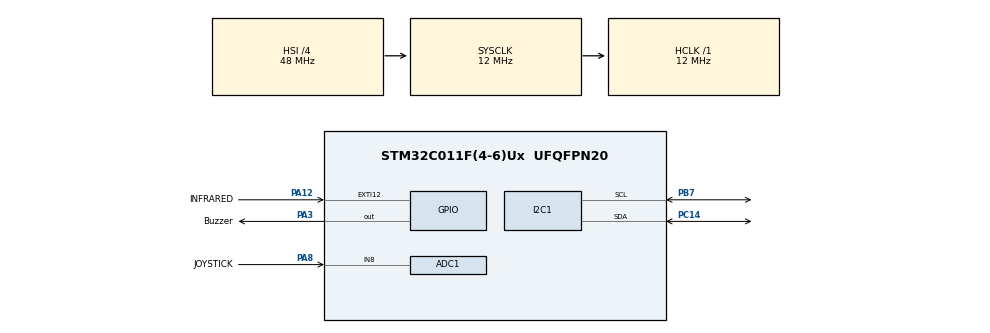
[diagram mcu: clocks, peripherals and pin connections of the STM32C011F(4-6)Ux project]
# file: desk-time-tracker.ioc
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ADC1.ClockPrescaler=ADC_CLOCK_SYNC_PCLK_DIV2
ADC1.EnableAnalogWatchDog1=false
ADC1.NbrOfConversionFlag=0
ADC1.SelectedChannel=ADC_CHANNEL_8
ADC1.master=1
I2C1.Timing=0x00402D41
Mcu.Family=STM32C0
Mcu.Name=STM32C011F(4-6)Ux
Mcu.Package=UFQFPN20
NVIC.ADC1_IRQn=true\:0\:0\:false\:false\:true\:true\:true\:true
NVIC.EXTI4_15_IRQn=true\:0\:0\:false\:false\:true\:true\:true\:true
NVIC.TIM1_BRK_UP_TRG_COM_IRQn=true\:0\:0\:false\:false\:true\:true\:true\:true
PA12\ [PA10].GPIO_Label=INFRARED
PA12\ [PA10].Signal=GPXTI12
PA3.GPIO_Label=Buzzer
PA3.GPIO_Speed=GPIO_SPEED_FREQ_VERY_HIGH
PA3.PinState=GPIO_PIN_RESET
PA3.Signal=GPIO_Output
PA8.GPIO_Label=JOYSTICK
PA8.Mode=IN8
PA8.Signal=ADC1_IN8
PB7.GPIO_Pu=GPIO_PULLUP
PB7.Mode=I2C
PB7.Signal=I2C1_SCL
PC14-OSCX_IN\ (PC14).GPIO_Pu=GPIO_PULLUP
PC14-OSCX_IN\ (PC14).Mode=I2C
PC14-OSCX_IN\ (PC14).Signal=I2C1_SDA
ProjectManager.HeapSize=0x200
ProjectManager.StackSize=0x400
ProjectManager.TargetToolchain=STM32CubeIDE
RCC.ADCFreq_Value=12000000
RCC.AHBFreq_Value=12000000
RCC.CortexFreq_Value=12000000
RCC.EXTERNAL_CLOCK_VALUE=12288000
RCC.HCLKFreq_Value=12000000
RCC.HSE_VALUE=8000000
RCC.HSI_VALUE=48000000
RCC.LSE_VALUE=32768
RCC.SYSCLKFreq_VALUE=12000000
TIM1.ClockDivision=TIM_CLOCKDIVISION_DIV1
TIM1.Period=11999
TIM1.Prescaler=999
VP_RTC_VS_RTC_Activate.Mode=RTC_Enabled
VP_TIM1_VS_ClockSourceINT.Mode=Internal
VP_TIM1_VS_ClockSourceITR.Mode=TriggerSource_ITR0
board=STM32C0116-DK

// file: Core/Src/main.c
/* USER CODE BEGIN Header */
/**
  ******************************************************************************
  * @file           : main.c
  * @brief          : Main program body
  ******************************************************************************
  * @attention
  *
  * Copyright (c) 2026 STMicroelectronics.
  * All rights reserved.
  *
  * This software is licensed under terms that can be found in the LICENSE file
  * in the root directory of this software component.
  * If no LICENSE file comes with this software, it is provided AS-IS.
  *
  ******************************************************************************
  */
/* USER CODE END Header */
#include "main.h"

/* USER CODE BEGIN Includes */
#include <stdio.h>
#include <stdint.h>
#include "ssd1306.h"
#include "ssd1306_fonts.h"
#include "mmwave.h"
#include "uprint.h"
#include "storage.h"

/* USER CODE END Includes */

ADC_HandleTypeDef hadc1;

I2C_HandleTypeDef hi2c1;

RTC_HandleTypeDef hrtc;

TIM_HandleTypeDef htim1;

/* USER CODE BEGIN PV */

//Normal Op
volatile uint8_t movement_state = 0; //Valid if Infrared has input
volatile int32_t timestamp      = 0; //global timer - seconds
volatile uint8_t resumeFromStop = 0; //Handles re-enabling full operation

//Buzzer
volatile uint8_t buzzerSettingsMode = 0;
volatile uint16_t buzzerSafetyCheck = 0;

uint32_t beeper = 3 * 60 * 60; //Three Hour Default
uint8_t buzzerEnabled = 0;
uint8_t disableBuzzer = 0;

uint8_t oled_state = 0;

char timestamp_str[6];
char avg_str[6];
char buzzer_str[6];

struct session {
  uint8_t state;
  uint8_t ab_tim_begun;
  int32_t ab_timestamp;
  uint8_t layover_tim_begun;
  uint32_t layover_timestamp;
};

struct averages {
  uint8_t average_iter;
  uint16_t average_count;
  uint32_t averages[64];
};

struct session session;
struct averages averages;

/* USER CODE END PV */

void SystemClock_Config(void);
static void MX_GPIO_Init(void);
static void MX_I2C1_Init(void);
static void MX_RTC_Init(void);
static void MX_TIM1_Init(void);
static void MX_ADC1_Init(void);

/* USER CODE BEGIN 0 */

//Generated By Claude.AI
void Display_TimeScreen(char *current_time, char *avg_time, char *buz_time) {
    ssd1306_Fill(White);

    // -- Large current time -----------------------------------
    // Font_16x26: "HH:MM" = 5 chars × 16px = 80px, ends at x=82
    ssd1306_SetCursor(2, 19);
    ssd1306_WriteString(current_time, Font_16x26, Black);

    // -- 2px vertical separator bar ---------------------------
    // Sits just after the main time (x=82), full screen height
    ssd1306_FillRectangle(84, 0, 85, 63, Black);

    // -- AVG label + value (top-right) ------------------------
    ssd1306_SetCursor(89, 4);
    ssd1306_WriteString("AVG", Font_6x8, Black);
    ssd1306_SetCursor(89, 14);
    ssd1306_WriteString(avg_time, Font_6x8, Black);

    // -- BUZ label + value (bottom-right) ---------------------
    ssd1306_SetCursor(89, 34);
    ssd1306_WriteString("BUZ", Font_6x8, Black);
    ssd1306_SetCursor(89, 44);
    ssd1306_WriteString(buz_time, Font_6x8, Black);

    // -- Vertical bar on right edge ---------------------------
    ssd1306_FillRectangle(124, 0, 127, 63, Black);

    ssd1306_UpdateScreen();
}

//Generated By Claude.AI
void Display_SettingsScreen(uint8_t hours, uint8_t minutes, uint8_t selected_pos) {
    char hours_str[4];
    char mins_str[4];
    sprintf(hours_str, "%02d", hours);
    sprintf(mins_str,  "%02d", minutes);

    // Blink toggle: flips every 500ms
    uint8_t blink_on = (HAL_GetTick() % 1000) < 500;

    ssd1306_Fill(White);

    // -- "BUZZ" label centered top ----------------------------
    // Font_6x8: "BUZZ" = 4 chars x 6px = 24px, centered at x=52
    ssd1306_SetCursor(52, 2);
    ssd1306_WriteString("BUZZ", Font_6x8, Black);

    // -- Centered time layout ---------------------------------
    // Font_16x26: "HH:MM" = 5 chars x 16px = 80px
    // Center on 128px screen: (128 - 80) / 2 = 24
    // So: HH @ x=24, ':' @ x=56, MM @ x=72
    // Vertically centered: (64 - 26) / 2 = 19

    // -- Colon always visible ---------------------------------
    ssd1306_SetCursor(56, 19);
    ssd1306_WriteString(":", Font_16x26, Black);

    // -- Hours: flash if selected -----------------------------
    if (selected_pos != 1 || blink_on) {
        ssd1306_SetCursor(24, 19);
        ssd1306_WriteString(hours_str, Font_16x26, Black);
    }

    // -- Minutes: flash if selected ---------------------------
    if (selected_pos != 0 || blink_on) {
        ssd1306_SetCursor(72, 19);
        ssd1306_WriteString(mins_str, Font_16x26, Black);
    }

    ssd1306_UpdateScreen();
}

//TIM set to 1Hz
void HAL_TIM_PeriodElapsedCallback(TIM_HandleTypeDef *htim) {
  //Update global time
  timestamp++;
  if (buzzerSettingsMode) {
    buzzerSafetyCheck++;
    if (buzzerSafetyCheck >= 360) {
      buzzerSettingsMode = 0;
      buzzerSafetyCheck = 0;
    }
  }
  if (timestamp >= beeper) {
	  buzzerEnabled = 1;
  }
}

void HAL_GPIO_EXTI_Callback(uint16_t GPIO_Pin) {
  //Infrared Sensor
  if (GPIO_Pin == INFRARED_Pin) {
	movement_state = 1;
    //If coming from low power mode - wakeup
    if (resumeFromStop) {
      HAL_ResumeTick();
      SystemClock_Config();
    }
  }
}

uint16_t Read_JOYSTICK(void) {
  HAL_ADC_Start(&hadc1);
  HAL_ADC_PollForConversion(&hadc1, HAL_MAX_DELAY);
  return (uint16_t)HAL_ADC_GetValue(&hadc1);
}

JoystickDirection Dechipher_JOYSTICK(uint16_t adc_val) {
  if (adc_val < 200)          return JOY_SELECT;
  else if (adc_val < 1100)    return JOY_LEFT;
  else if (adc_val < 2100)    return JOY_DOWN;
  else if (adc_val < 3100)    return JOY_UP;
  else if (adc_val < 4000)    return JOY_RIGHT;
  else                    	  return JOY_NONE;
}

void handle_movement() {
  session.state = 1;
  session.ab_tim_begun = 0;
  session.ab_timestamp = 0;

  if (!movement_state) {
    movement_state = 1;
  }

  if (buzzerEnabled && !disableBuzzer) {
	  HAL_GPIO_WritePin(Buzzer_GPIO_Port, Buzzer_Pin, GPIO_PIN_SET);
  }

  if (!oled_state) {
    ssd1306_SetDisplayOn(1);
    Display_TimeScreen(timestamp_str, avg_str, buzzer_str);
    oled_state = 1;
  }

  if (timestamp % 60 == 1) {
    //Convert Current Timestamp to something usable on screen
    timestampToChar(timestamp_str, timestamp);

    //Display Everything on screen
    Display_TimeScreen(timestamp_str, avg_str, buzzer_str);
  }
}

void handle_absence() {
  if (oled_state) {
    ssd1306_Fill(Black);
    ssd1306_UpdateScreen();
    ssd1306_SetDisplayOn(0);
    oled_state = 0;
  }

  if (session.state) {
    //Begin Countdown
    if (session.ab_tim_begun) {
      if (timestamp >= session.ab_timestamp + ABS_TIME) {
        //5 Min Absensence, Enter Low Power Mode
        session.state = 0;
        session.ab_timestamp = 0;
        session.ab_tim_begun = 0;
        session.layover_timestamp = 0;
        buzzerEnabled = 0;
        disableBuzzer = 0;

        if (averages.average_count >= 64) {
        	averages.averages[averages.average_iter] = timestamp - (ABS_TIME + LAYOVER_TIME);
        	averages.average_iter++;
        	if (averages.average_iter > 63) {
        		averages.average_iter = 0;
        	}
        } else {
        	if (averages.average_count == 0) {
            	averages.averages[averages.average_count] = timestamp - (ABS_TIME + LAYOVER_TIME);
        	} else {
            	averages.averages[averages.average_count - 1] = timestamp - (ABS_TIME + LAYOVER_TIME);
        	}

        }

        timestamp = 0;
        //Store Average
        if (__flash_store(&averages.averages, averages.average_count, &beeper) != HAL_OK) {
          //Broken
          while(1);
        }

        //Enter Low Power Mode
        resumeFromStop = 1;
        //HAL_SuspendTick();
        //HAL_PWR_EnterSTOPMode(PWR_MAINREGULATOR_ON, PWR_STOPENTRY_WFI);
      }
    } else {
      session.ab_tim_begun = 1;
      session.ab_timestamp = timestamp;
    }
  }
}

void handle_settings_mode() {
  uint8_t hours = 0;
  uint8_t minutes = 0;
  uint8_t selected_pos = 0; // 1 -> hours, 0 -> minutes
  uint16_t adc_val = 0;
  JoystickDirection position = JOY_NONE;

  getHoursMins(&hours, &minutes, beeper);
  while(buzzerSettingsMode) {
    adc_val = Read_JOYSTICK();
    position = Dechipher_JOYSTICK(adc_val);

    switch (position) {
      case JOY_SELECT:
		buzzerSettingsMode = 0;  // pressing select again exits settings
		buzzerSafetyCheck = 0;
	    //Redisplay everything on screen
		timestampToChar(buzzer_str, beeper);
	    Display_TimeScreen(timestamp_str, avg_str, buzzer_str);
		HAL_Delay(300);          // debounce
		return;
      case JOY_LEFT:
        selected_pos = 1;
        break;
      case JOY_RIGHT:
        selected_pos = 0;
        break;

      case JOY_UP:
        if (selected_pos) {
          if (hours < 99) {
            hours++;
          }
        } else {
          if (minutes < 59) {
            minutes++;
          }
        }
        break;
      case JOY_DOWN:
        if (selected_pos) {
          if (hours > 0) {
            hours--;
          }
        } else {
          if (minutes > 0) {
            minutes--;
          }
        }
        break;
      case JOY_NONE:
        break;
    }
    beeper = hoursMinsToTimestamp(hours, minutes);
    Display_SettingsScreen(hours, minutes, selected_pos);
    HAL_Delay(100);
  }
}
/* USER CODE END 0 */

int main(void)
{

  /* MCU Configuration--------------------------------------------------------*/

  /* Reset of all peripherals, Initializes the Flash interface and the Systick. */
  HAL_Init();

  /* Configure the system clock */
  SystemClock_Config();

  /* Initialize all configured peripherals */
  MX_GPIO_Init();
  MX_I2C1_Init();
  MX_RTC_Init();
  MX_TIM1_Init();
  MX_ADC1_Init();
  /* USER CODE BEGIN 2 */

  /**TODO:
  Start up -
  Iniatalize
   - Screen
   - Load Average
   - Load Buffer Time
   - Timer
  **/

  //Timer
  // f_out = APB2 / (ARR + 1) -> 12Mhz / (999 + 1) -> 12Khz / (11999 + 1) = 1 Hz
  //Initalized in MX_TIM1_Init
  HAL_TIM_Base_Start_IT(&htim1);

  if (__load_fromFlash(&averages.averages, &beeper) == 0) {
	  //Failed to Load Averages
	  sprintf(avg_str, "00:00");
	  sprintf(buzzer_str, "00:00");
	  sprintf(timestamp_str, "00:00");
  } else {

	  int32_t actualAverage = getActualAverage(&averages.averages, &averages.average_count);
	  timestampToChar(avg_str, actualAverage);
	  timestampToChar(buzzer_str, beeper);
	  sprintf(timestamp_str, "00:00");
  }

  //Turn On Screen
  ssd1306_Init();

  if (!oled_state) {
    ssd1306_SetDisplayOn(1);
    Display_TimeScreen(timestamp_str, avg_str, buzzer_str);
    oled_state = 1;
  }

  /* USER CODE END 2 */

  /* Infinite loop */
  while (1)
  {

    /* USER CODE BEGIN 3 */
    //Simulate State until Infared Sensor comes in
	if (HAL_GPIO_ReadPin(INFRARED_GPIO_Port, INFRARED_Pin) && !resumeFromStop) {
		movement_state = 1;
		session.layover_timestamp = timestamp;
	} else {
		if (timestamp >= session.layover_timestamp + LAYOVER_TIME) {
			movement_state = 0;
			while(resumeFromStop) {
				if (HAL_GPIO_ReadPin(INFRARED_GPIO_Port, INFRARED_Pin)) {
					resumeFromStop = 0;
					movement_state = 1;
					session.layover_timestamp = timestamp;
				}
			}
		}
	}

    oled_state = ssd1306_GetDisplayOn();

    // Poll joystick for SELECT press to toggle settings mode
    JoystickDirection joy = Dechipher_JOYSTICK(Read_JOYSTICK());
    if (joy == JOY_SELECT) {
    	if (buzzerEnabled) {
    		buzzerEnabled = 0;
    		disableBuzzer = 1;
    		HAL_GPIO_WritePin(Buzzer_GPIO_Port, Buzzer_Pin, GPIO_PIN_RESET);
    	} else {
			buzzerSafetyCheck = 0;
			buzzerSettingsMode = !buzzerSettingsMode;
			HAL_Delay(300);  // debounce — prevents immediate re-toggle
    	}
    }

    if (buzzerSettingsMode) {
      handle_settings_mode();
    } else {
      if (movement_state) {
        handle_movement();
      } else {
        handle_absence();
      }
    }

    HAL_Delay(50);
  }
  /* USER CODE END 3 */
}

void SystemClock_Config(void)
{
  RCC_OscInitTypeDef RCC_OscInitStruct = {0};
  RCC_ClkInitTypeDef RCC_ClkInitStruct = {0};

  __HAL_FLASH_SET_LATENCY(FLASH_LATENCY_0);

  /** Initializes the RCC Oscillators according to the specified parameters
  * in the RCC_OscInitTypeDef structure.
  */
  RCC_OscInitStruct.OscillatorType = RCC_OSCILLATORTYPE_HSI|RCC_OSCILLATORTYPE_LSI;
  RCC_OscInitStruct.HSIState = RCC_HSI_ON;
  RCC_OscInitStruct.HSIDiv = RCC_HSI_DIV4;
  RCC_OscInitStruct.HSICalibrationValue = RCC_HSICALIBRATION_DEFAULT;
  RCC_OscInitStruct.LSIState = RCC_LSI_ON;
  if (HAL_RCC_OscConfig(&RCC_OscInitStruct) != HAL_OK)
  {
    Error_Handler();
  }

  /** Initializes the CPU, AHB and APB buses clocks
  */
  RCC_ClkInitStruct.ClockType = RCC_CLOCKTYPE_HCLK|RCC_CLOCKTYPE_SYSCLK
                              |RCC_CLOCKTYPE_PCLK1;
  RCC_ClkInitStruct.SYSCLKSource = RCC_SYSCLKSOURCE_HSI;
  RCC_ClkInitStruct.SYSCLKDivider = RCC_SYSCLK_DIV1;
  RCC_ClkInitStruct.AHBCLKDivider = RCC_HCLK_DIV1;
  RCC_ClkInitStruct.APB1CLKDivider = RCC_APB1_DIV1;

  if (HAL_RCC_ClockConfig(&RCC_ClkInitStruct, FLASH_LATENCY_0) != HAL_OK)
  {
    Error_Handler();
  }
}

static void MX_ADC1_Init(void)
{

  ADC_ChannelConfTypeDef sConfig = {0};

  /** Configure the global features of the ADC (Clock, Resolution, Data Alignment and number of conversion)
  */
  hadc1.Instance = ADC1;
  hadc1.Init.ClockPrescaler = ADC_CLOCK_SYNC_PCLK_DIV2;
  hadc1.Init.Resolution = ADC_RESOLUTION_12B;
  hadc1.Init.DataAlign = ADC_DATAALIGN_RIGHT;
  hadc1.Init.ScanConvMode = ADC_SCAN_SEQ_FIXED;
  hadc1.Init.EOCSelection = ADC_EOC_SINGLE_CONV;
  hadc1.Init.LowPowerAutoWait = DISABLE;
  hadc1.Init.LowPowerAutoPowerOff = DISABLE;
  hadc1.Init.ContinuousConvMode = DISABLE;
  hadc1.Init.NbrOfConversion = 1;
  hadc1.Init.DiscontinuousConvMode = DISABLE;
  hadc1.Init.ExternalTrigConv = ADC_SOFTWARE_START;
  hadc1.Init.ExternalTrigConvEdge = ADC_EXTERNALTRIGCONVEDGE_NONE;
  hadc1.Init.DMAContinuousRequests = DISABLE;
  hadc1.Init.Overrun = ADC_OVR_DATA_PRESERVED;
  hadc1.Init.SamplingTimeCommon1 = ADC_SAMPLETIME_1CYCLE_5;
  hadc1.Init.OversamplingMode = DISABLE;
  hadc1.Init.TriggerFrequencyMode = ADC_TRIGGER_FREQ_HIGH;
  if (HAL_ADC_Init(&hadc1) != HAL_OK)
  {
    Error_Handler();
  }

  /** Configure Regular Channel
  */
  sConfig.Channel = ADC_CHANNEL_8;
  sConfig.Rank = ADC_RANK_CHANNEL_NUMBER;
  if (HAL_ADC_ConfigChannel(&hadc1, &sConfig) != HAL_OK)
  {
    Error_Handler();
  }

}

static void MX_I2C1_Init(void)
{

  hi2c1.Instance = I2C1;
  hi2c1.Init.Timing = 0x00402D41;
  hi2c1.Init.OwnAddress1 = 0;
  hi2c1.Init.AddressingMode = I2C_ADDRESSINGMODE_7BIT;
  hi2c1.Init.DualAddressMode = I2C_DUALADDRESS_DISABLE;
  hi2c1.Init.OwnAddress2 = 0;
  hi2c1.Init.OwnAddress2Masks = I2C_OA2_NOMASK;
  hi2c1.Init.GeneralCallMode = I2C_GENERALCALL_DISABLE;
  hi2c1.Init.NoStretchMode = I2C_NOSTRETCH_DISABLE;
  if (HAL_I2C_Init(&hi2c1) != HAL_OK)
  {
    Error_Handler();
  }

  /** Configure Analogue filter
  */
  if (HAL_I2CEx_ConfigAnalogFilter(&hi2c1, I2C_ANALOGFILTER_ENABLE) != HAL_OK)
  {
    Error_Handler();
  }

  /** Configure Digital filter
  */
  if (HAL_I2CEx_ConfigDigitalFilter(&hi2c1, 0) != HAL_OK)
  {
    Error_Handler();
  }

}

static void MX_RTC_Init(void)
{

  /** Initialize RTC Only
  */
  hrtc.Instance = RTC;
  hrtc.Init.HourFormat = RTC_HOURFORMAT_24;
  hrtc.Init.AsynchPrediv = 127;
  hrtc.Init.SynchPrediv = 255;
  hrtc.Init.OutPut = RTC_OUTPUT_DISABLE;
  hrtc.Init.OutPutRemap = RTC_OUTPUT_REMAP_NONE;
  hrtc.Init.OutPutPolarity = RTC_OUTPUT_POLARITY_HIGH;
  hrtc.Init.OutPutType = RTC_OUTPUT_TYPE_OPENDRAIN;
  hrtc.Init.OutPutPullUp = RTC_OUTPUT_PULLUP_NONE;
  if (HAL_RTC_Init(&hrtc) != HAL_OK)
  {
    Error_Handler();
  }

}

static void MX_TIM1_Init(void)
{

  TIM_ClockConfigTypeDef sClockSourceConfig = {0};
  TIM_SlaveConfigTypeDef sSlaveConfig = {0};
  TIM_MasterConfigTypeDef sMasterConfig = {0};

  htim1.Instance = TIM1;
  htim1.Init.Prescaler = 999;
  htim1.Init.CounterMode = TIM_COUNTERMODE_UP;
  htim1.Init.Period = 11999;
  htim1.Init.ClockDivision = TIM_CLOCKDIVISION_DIV1;
  htim1.Init.RepetitionCounter = 0;
  htim1.Init.AutoReloadPreload = TIM_AUTORELOAD_PRELOAD_DISABLE;
  if (HAL_TIM_Base_Init(&htim1) != HAL_OK)
  {
    Error_Handler();
  }
  sClockSourceConfig.ClockSource = TIM_CLOCKSOURCE_INTERNAL;
  if (HAL_TIM_ConfigClockSource(&htim1, &sClockSourceConfig) != HAL_OK)
  {
    Error_Handler();
  }
  sSlaveConfig.SlaveMode = TIM_SLAVEMODE_DISABLE;
  sSlaveConfig.InputTrigger = TIM_TS_ITR0;
  if (HAL_TIM_SlaveConfigSynchro(&htim1, &sSlaveConfig) != HAL_OK)
  {
    Error_Handler();
  }
  sMasterConfig.MasterOutputTrigger = TIM_TRGO_RESET;
  sMasterConfig.MasterOutputTrigger2 = TIM_TRGO2_RESET;
  sMasterConfig.MasterSlaveMode = TIM_MASTERSLAVEMODE_DISABLE;
  if (HAL_TIMEx_MasterConfigSynchronization(&htim1, &sMasterConfig) != HAL_OK)
  {
    Error_Handler();
  }

}

static void MX_GPIO_Init(void)
{
  GPIO_InitTypeDef GPIO_InitStruct = {0};

  /* GPIO Ports Clock Enable */
  __HAL_RCC_GPIOA_CLK_ENABLE();
  __HAL_RCC_GPIOB_CLK_ENABLE();
  __HAL_RCC_GPIOC_CLK_ENABLE();

  /*Configure GPIO pin Output Level */
  HAL_GPIO_WritePin(Buzzer_GPIO_Port, Buzzer_Pin, GPIO_PIN_RESET);

  /*Configure GPIO pin : Buzzer_Pin */
  GPIO_InitStruct.Pin = Buzzer_Pin;
  GPIO_InitStruct.Mode = GPIO_MODE_OUTPUT_PP;
  GPIO_InitStruct.Pull = GPIO_NOPULL;
  GPIO_InitStruct.Speed = GPIO_SPEED_FREQ_VERY_HIGH;
  HAL_GPIO_Init(Buzzer_GPIO_Port, &GPIO_InitStruct);

  /*Configure GPIO pin : INFRARED_Pin */
  GPIO_InitStruct.Pin = INFRARED_Pin;
  GPIO_InitStruct.Mode = GPIO_MODE_IT_RISING;
  GPIO_InitStruct.Pull = GPIO_NOPULL;
  HAL_GPIO_Init(INFRARED_GPIO_Port, &GPIO_InitStruct);

  /* EXTI interrupt init*/
  HAL_NVIC_SetPriority(EXTI4_15_IRQn, 0, 0);
  HAL_NVIC_EnableIRQ(EXTI4_15_IRQn);

}

void Error_Handler(void)
{
  __disable_irq();
  while (1)
  {
  }
}
